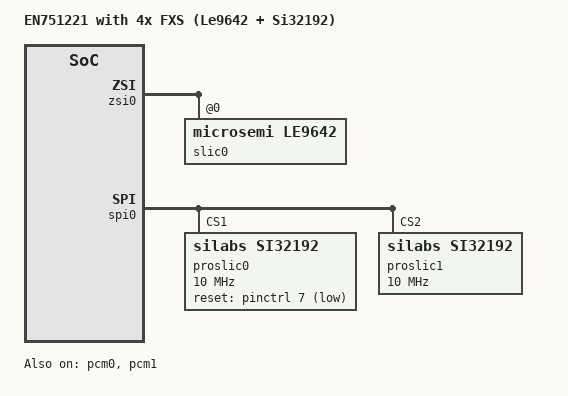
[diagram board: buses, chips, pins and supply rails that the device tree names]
// SPDX-License-Identifier: GPL-2.0
/*
 * Example: four FXS ports split across both PCM instances and two
 * different SLIC families.
 *
 * Not a real product -- it exists to show the parts that are easy to
 * get wrong when a board has more than two lines:
 *
 *   - each PCM instance uses its reset-controller ID;
 *   - bus slots are per PCM instance, so pcm1 can reuse 4 and 6;
 *   - a ZSI SLIC and an SPI SLIC can coexist, but not on the same
 *     PCM channel.
 */

/dts-v1/;

#include <dt-bindings/gpio/gpio.h>

#include "en751221.dtsi"
#include "en751221-voice.dtsi"

/ {
	model = "EN751221 with 4x FXS (Le9642 + Si32192)";
	compatible = "econet,en751221";
};

/* lines 1-2: Le9642 over ZSI on the first PCM block */
&pcm0 {
	airoha,dma-channel-mask = <0x05>;
	status = "okay";
};

&zsi0 {
	status = "okay";

	slic0: slic@0 {
		compatible = "microsemi,le9642";
		reg = <0>;
		airoha,zsi = <&zsi0>;
		airoha,pcm = <&pcm0>;
		airoha,lines = <2>;
		airoha,bus-slots = <4 6>;
		status = "okay";
	};
};

/*
 * Lines 3-4: Si32192 over SPI on the second PCM block.
 *
 * The base en751221.dtsi has no SPI controller node. The voice fragment
 * adds the one-range EN751221 instance used by the unified SFC/SNFI
 * driver, so &spi0 below is a real label rather than a placeholder.
 */
&pcm1 {
	airoha,dma-channel-mask = <0x05>;
	status = "okay";
};

&spi0 {
	status = "okay";

	proslic0: proslic@1 {
		compatible = "silabs,si32192";
		reg = <1>;
		spi-max-frequency = <10000000>;
		spi-cpha;
		spi-cpol;
		airoha,pcm = <&pcm1>;
		airoha,pcm-channel = <0>;
		reset-gpios = <&pinctrl 7 GPIO_ACTIVE_LOW>;
		status = "okay";
	};

	proslic1: proslic@2 {
		compatible = "silabs,si32192";
		reg = <2>;
		spi-max-frequency = <10000000>;
		spi-cpha;
		spi-cpol;
		airoha,pcm = <&pcm1>;
		airoha,pcm-channel = <2>;
		status = "okay";
	};
};
